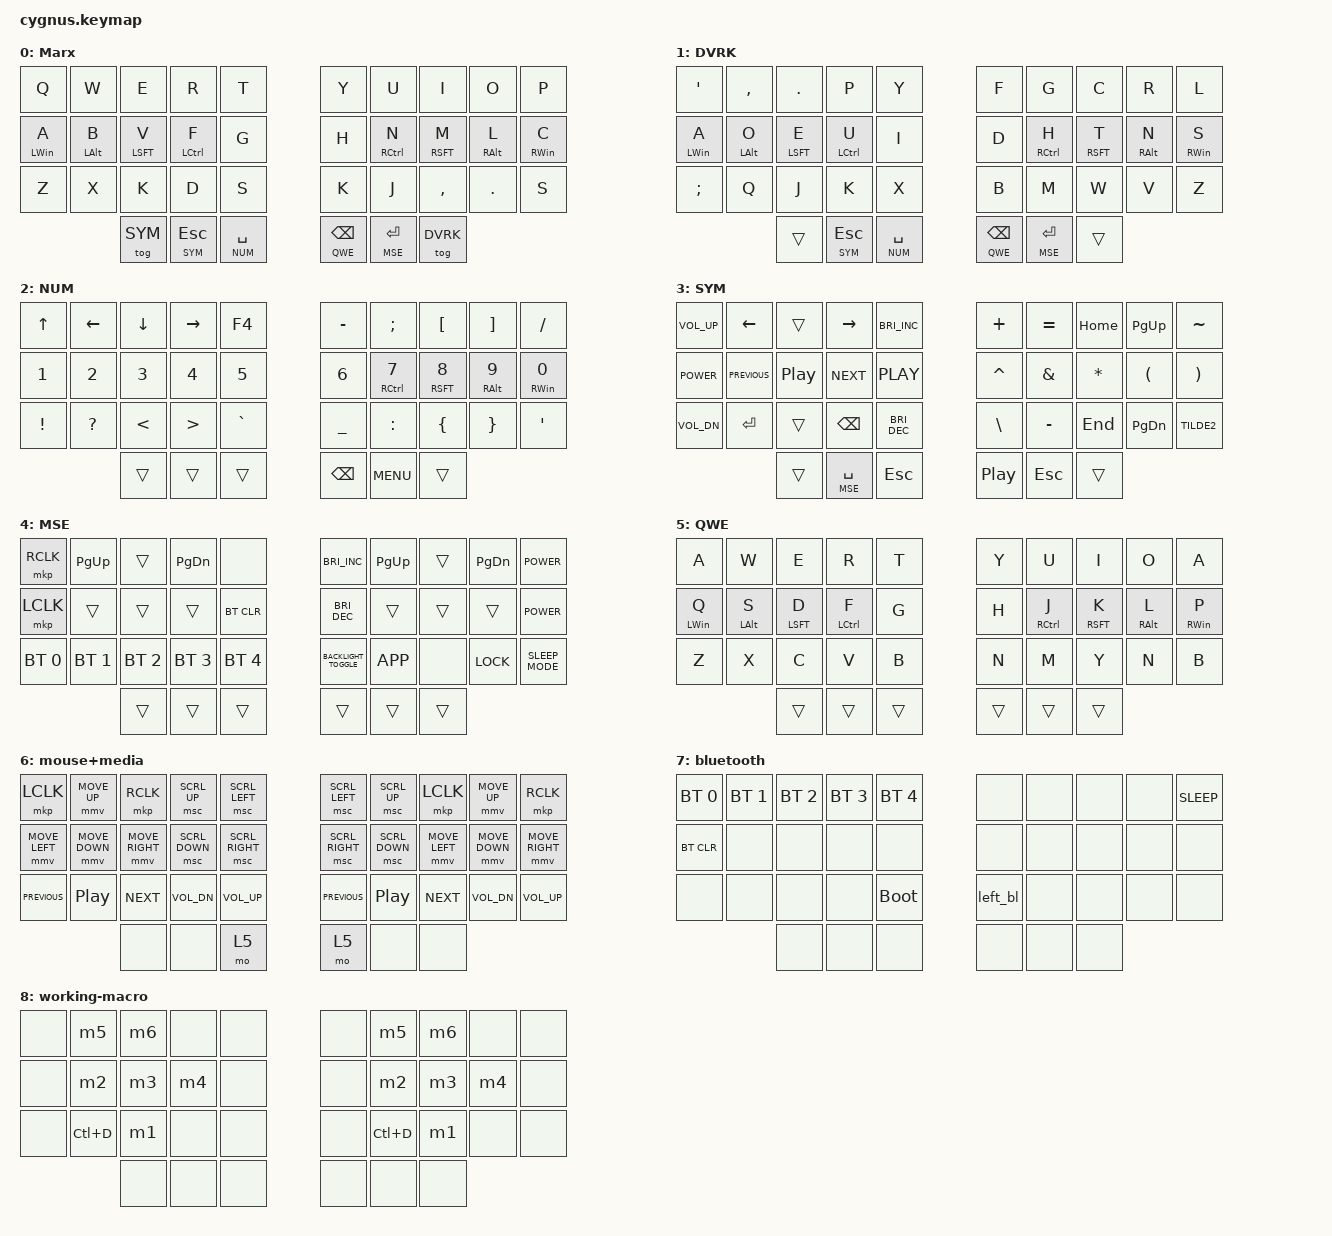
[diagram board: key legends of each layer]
/*
 * Copyright (c) 2020 The ZMK Contributors
 *
 * SPDX-License-Identifier: MIT
 */

#include <dt-bindings/zmk/mouse.h>
#include <behaviors.dtsi>
#include <dt-bindings/zmk/bt.h>
#include <dt-bindings/zmk/keys.h>

&mt {
    tapping-term-ms = <160>;
    flavor = "tap-preferred";
};

&sk {
    release-after-ms = <2000>;
    quick-release;
};

/ {
    combos {
        compatible = "zmk,combos";

        esc {
            bindings = <&kp ESC>;
            key-positions = <0 19>;
        };

        tab {
            bindings = <&kp TAB>;
            key-positions = <10 21>;
        };
    };

    behaviors {
        gqt: global-quick-tap {
            compatible = "zmk,behavior-hold-tap";
            label = "GLOBAL_QUICK_TAP";
            bindings = <&kp>, <&kp>;

            #binding-cells = <2>;
            quick-tap-ms = <200>;
            tapping-term-ms = <250>;
            global-quick-tap;
        };

        ltq: ltq {
            compatible = "zmk,behavior-hold-tap";
            label = "LTQ";
            bindings = <&mo>, <&kp>;

            #binding-cells = <2>;
            tapping-term-ms = <160>;
            global-quick-tap;
            quick-tap-ms = <160>;
            flavor = "tap-preferred";
        };

        tap_hold_1: th1 {
            compatible = "zmk,behavior-hold-tap";
            label = "th1";
            bindings = <&m1>, <&kp>;

            #binding-cells = <2>;
            tapping-term-ms = <160>;
        };
    };

    macros {
        left_bl: lbl {
            compatible = "zmk,behavior-macro";
            #binding-cells = <0>;
            bindings = <&bootloader>;
            label = "lbl";
        };

        m1: m1 {
            compatible = "zmk,behavior-macro";
            #binding-cells = <0>;
            bindings =
                <&macro_wait_time 400>,
                <&kp LC(S) &kp A &kp N5 &kp ENTER>;

            label = "m1";
        };

        m2: m2 {
            compatible = "zmk,behavior-macro";
            #binding-cells = <0>;
            bindings = <&kp S &kp N2 &kp RET>;
            label = "M2";
        };

        m3: m3 {
            compatible = "zmk,behavior-macro";
            #binding-cells = <0>;
            bindings = <&kp E &kp N2 &kp RET>;
            label = "M3";
        };

        m4: m4 {
            compatible = "zmk,behavior-macro";
            #binding-cells = <0>;
            bindings = <&kp L &kp N2 &kp RET>;
            label = "M4";
        };

        m5: m5 {
            compatible = "zmk,behavior-macro";
            #binding-cells = <0>;
            bindings =
                <&kp Q &kp N2 &kp RET>,
                <&macro_wait_time 200>,
                <&kp S &kp D &kp SPACE &kp RET>;

            label = "M5";
        };

        m6: m6 {
            compatible = "zmk,behavior-macro";
            #binding-cells = <0>;
            bindings =
                <&kp F &kp SPACE &kp RET>,
                <&macro_wait_time 200>,
                <&kp F &kp F &kp SPACE &kp RET>;

            label = "M6";
        };
    };

#define DEFAULT 0
#define DVRK    1
#define NUM     2
#define SYM     3
#define MSE     4
#define QWE     5


    keymap {
        compatible = "zmk,keymap";

default_layer {
            label = "Marx";
			bindings = <
        &kp Q     &kp W      &kp E      &kp R      &kp T         &kp Y    &kp U      &kp I      &kp O      &kp P
        &mt LWIN A &mt LALT B &mt LSFT V &mt LCTL F &kp G         &kp H    &mt RCTL N &mt RSFT M &mt RALT L &mt RWIN C 
        &kp Z     &kp X      &kp K      &kp D  &kp S         &kp K    &kp J  &kp COMMA &kp DOT &kp S
              &tog SYM  &lt SYM ESC  &lt NUM SPACE            &lt QWE BSPC  &lt MSE RET &tog DVRK
            >;
        };

		    	dvorak_layer {
            label = "DVRK";
			bindings = <
        &kp SINGLE_QUOTE     &kp COMMA   &kp DOT   &kp P   &kp Y         &kp F    &kp G     &kp C      &kp R      &kp L
        &mt LWIN A &mt LALT O &mt LSFT E &mt LCTL U &kp I         &kp D    &mt RCTL H &mt RSFT T &mt RALT N &mt RWIN S 
 	&kp SEMI    &kp Q      &kp J      &kp K  &kp X         &kp B    &kp M  &kp W &kp V &kp Z
            &trans   &lt SYM ESC  &lt NUM SPACE                 &lt QWE BSPC  &lt MSE RET &trans 
            >;
        };


        number_layer {
            label = "NUM";
            bindings = <
                &kp UP  &kp LEFT  &kp DOWN   &kp RIGHT   &kp F4      &kp MINUS    &kp SEMI  &kp LEFT_BRACKET  &kp RIGHT_BRACKET  &kp SLASH
                &kp N1  &kp N2  &kp N3  &kp N4  &kp N5                &kp N6   &mt RCTL N7  &mt RSFT N8  &mt RALT N9  &mt RWIN N0
                &kp EXCLAMATION  &kp QUESTION  &kp LESS_THAN   &kp GREATER_THAN   &kp GRAVE     &kp UNDERSCORE   &kp COLON  &kp LEFT_BRACE  &kp RIGHT_BRACE  &kp SINGLE_QUOTE
        &trans          &trans          &trans       &kp BSPC   &kp K_MENU   &trans  
            >;
        };	

        symbol_layer {
            label = "SYM";
            bindings = <
                &kp C_VOL_UP    &kp LEFT       &trans         &kp RIGHT   &kp C_BRIGHTNESS_INC      &kp PLUS  &kp EQUAL  &kp HOME  &kp PAGE_UP  &kp TILDE
                &kp C_POWER   &kp C_PREVIOUS &kp C_PLAY_PAUSE  &kp C_NEXT  &kp C_PLAY                &kp CARET &kp AMPS &kp STAR &kp LPAR &kp RPAR
                &kp C_VOL_DN   &kp RET        &trans          &kp BSPC    &kp C_BRIGHTNESS_DEC       &kp BACKSLASH  &kp MINUS   &kp END  &kp PAGE_DOWN  &kp TILDE2  
         &trans   &lt MSE SPACE  &kp ESC       &kp C_PLAY_PAUSE  &kp ESC   &trans 
            >;
        };

        mouse_layer {
            label = "MSE";
            bindings = <
                &mkp RCLK   &kp PAGE_UP   &trans   &kp PAGE_DOWN   &none          &kp C_BRIGHTNESS_INC  &kp PAGE_UP   &trans  &kp PAGE_DOWN    &kp C_POWER
                &mkp LCLK  &trans  &trans    &trans   &bt BT_CLR                 &kp C_BRIGHTNESS_DEC  &trans  &trans   &trans  &kp K_POWER
                &bt BT_SEL 0 &bt BT_SEL 1 &bt BT_SEL 2 &bt BT_SEL 3 &bt BT_SEL 4      &kp C_BACKLIGHT_TOGGLE  &kp K_APP      &none       &kp K_LOCK       &kp C_SLEEP_MODE
        &trans          &trans          &trans          &trans  &trans  &trans
            >;
        };

	cangjie_layer {
            label = "QWE";
			bindings = <
            		&kp A     &kp W      &kp E      &kp R      &kp T         &kp Y    &kp U      &kp I      &kp O      &kp A
             		&mt LWIN Q &mt LALT S &mt LSFT D &mt LCTL F &kp G         &kp H    &mt RCTL J &mt RSFT K &mt RALT L &mt RWIN P 
                &kp Z     &kp X      &kp C      &kp V  &kp B         &kp N    &kp M  &kp Y &kp N &kp B
        &trans          &trans          &trans          &trans  &trans  &trans
            >;
        };

        mouse+media {
            bindings = <
&mkp LCLK       &mmv MOVE_UP      &mkp RCLK        &msc SCRL_UP    &msc SCRL_LEFT   &msc SCRL_LEFT   &msc SCRL_UP    &mkp LCLK       &mmv MOVE_UP    &mkp RCLK
&mmv MOVE_LEFT  &mmv MOVE_DOWN    &mmv MOVE_RIGHT  &msc SCRL_DOWN  &msc SCRL_RIGHT  &msc SCRL_RIGHT  &msc SCRL_DOWN  &mmv MOVE_LEFT  &mmv MOVE_DOWN  &mmv MOVE_RIGHT
&kp C_PREVIOUS  &kp C_PLAY_PAUSE  &kp C_NEXT       &kp C_VOL_DN    &kp C_VOL_UP     &kp C_PREVIOUS   &kp C_PP        &kp C_NEXT      &kp C_VOL_DN    &kp C_VOL_UP
                                  &none            &none           &mo 5            &mo 5            &none           &none
            >;
        };

        bluetooth {
            bindings = <
&bt BT_SEL 0  &bt BT_SEL 1  &bt BT_SEL 2  &bt BT_SEL 3  &bt BT_SEL 4  &none     &none  &none  &none  &kp C_SLEEP
&bt BT_CLR    &none         &none         &none         &none         &none     &none  &none  &none  &none
&none         &none         &none         &none         &bootloader   &left_bl  &none  &none  &none  &none
                            &none         &none         &none         &none     &none  &none
            >;
        };



        working-macro {
            bindings = <
&none  &m5        &m6    &none  &none  &none  &m5        &m6    &none  &none
&none  &m2        &m3    &m4    &none  &none  &m2        &m3    &m4    &none
&none  &kp LC(D)  &m1    &none  &none  &none  &kp LC(D)  &m1    &none  &none
                  &none  &none  &none  &none  &none      &none
            >;
        };
    };
};
